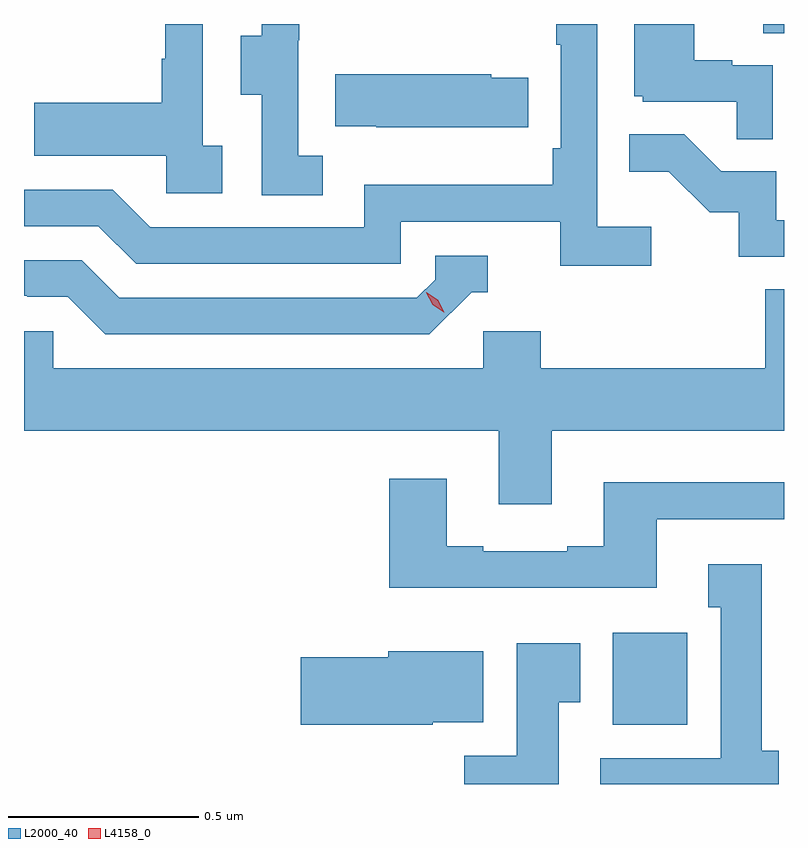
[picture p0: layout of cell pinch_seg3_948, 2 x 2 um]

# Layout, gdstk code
import gdstk
lib = gdstk.Library(unit=1e-6, precision=1e-09)
def R(c, l, rs):  # rectangles x0, y0, x1, y1
    for r in rs: c.add(gdstk.rectangle(r[:2], r[2:], *l))
def P(c, l, *ps):  # polygons
    for p in ps: c.add(gdstk.Polygon(p, *l))
L2000_40 = (2000, 40)
L4158_0 = (4158, 0)

pinch_seg3_948 = lib.new_cell('pinch_seg3_948')
R(pinch_seg3_948, L2000_40, [(889.673,681.494,889.87,681.736), (890.069,683.314,890.124,683.338)])
P(pinch_seg3_948, L2000_40, [(888.91,682.991),(888.846,682.991),(888.846,683.295),(888.848,683.295),(888.848,683.338),(888.749,683.338),(888.749,683.307),(888.695,683.307),(888.695,683.152),(888.75,683.152),(888.75,682.888),(888.91,682.888)],
  [(888.646,683.018),(888.594,683.018),(888.594,683.338),(888.496,683.338),(888.496,683.246),(888.486,683.246),(888.486,683.131),(888.151,683.131),(888.151,682.991),(888.498,682.991),(888.498,682.893),(888.646,682.893)],
  [(890.094,683.229),(889.988,683.229),(889.988,683.242),(889.888,683.242),(889.888,683.338),(889.73,683.338),(889.73,683.148),(889.752,683.148),(889.752,683.133),(889.999,683.133),(889.999,683.035),(890.094,683.035)],
  [(889.774,682.804),(889.632,682.804),(889.632,683.338),(889.524,683.338),(889.524,683.284),(889.536,683.284),(889.536,683.011),(889.516,683.011),(889.516,682.915),(889.02,682.915),(889.02,682.803),(888.456,682.803),(888.357,682.902),(888.124,682.902),(888.124,682.806),(888.32,682.806),(888.419,682.707),(889.116,682.707),(889.116,682.818),(889.535,682.818),(889.535,682.702),(889.774,682.702)],
  [(889.451,683.196),(889.353,683.196),(889.353,683.206),(888.943,683.206),(888.943,683.069),(889.051,683.069),(889.051,683.066),(889.451,683.066)],
  [(890.124,682.821),(890.103,682.821),(890.103,682.95),(889.959,682.95),(889.861,683.048),(889.717,683.048),(889.717,682.949),(889.821,682.949),(889.928,682.842),(890.005,682.842),(890.005,682.725),(890.124,682.725)],
  [(889.302,682.632),(889.345,682.632),(889.345,682.728),(889.206,682.728),(889.206,682.665),(889.158,682.617),(888.375,682.617),(888.276,682.716),(888.124,682.716),(888.124,682.623),(888.132,682.623),(888.132,682.62),(888.239,682.62),(888.338,682.521),(889.191,682.521)],
  [(889.513,682.268),(890.124,682.268),(890.124,682.64),(890.075,682.64),(890.075,682.432),(889.484,682.432),(889.484,682.53),(889.332,682.53),(889.332,682.432),(888.201,682.432),(888.201,682.53),(888.124,682.53),(888.124,682.268),(889.373,682.268),(889.373,682.074),(889.513,682.074)],
  [(889.789,682.035),(890.124,682.035),(890.124,682.132),(889.649,682.132),(889.649,681.964),(889.553,681.964),(889.553,681.951),(889.333,681.951),(889.333,681.964),(889.237,681.964),(889.237,682.141),(889.085,682.141),(889.085,681.854),(889.789,681.854)],
  [(890.11,681.426),(890.065,681.426),(890.065,681.916),(889.925,681.916),(889.925,681.803),(889.958,681.803),(889.958,681.406),(889.641,681.406),(889.641,681.338),(890.11,681.338)],
  [(889.531,681.553),(889.588,681.553),(889.588,681.709),(889.421,681.709),(889.421,681.412),(889.282,681.412),(889.282,681.338),(889.531,681.338)],
  [(889.2,681.5),(889.333,681.5),(889.333,681.688),(889.082,681.688),(889.082,681.671),(888.852,681.671),(888.852,681.494),(889.2,681.494)])
P(pinch_seg3_948, L4158_0, [(889.229,682.579),(889.199,682.599),(889.182,682.631),(889.182,682.632),(889.182,682.632),(889.213,682.612),(889.23,682.58),(889.23,682.579)])

lib.write_gds('pinch_seg3_948.gds')
